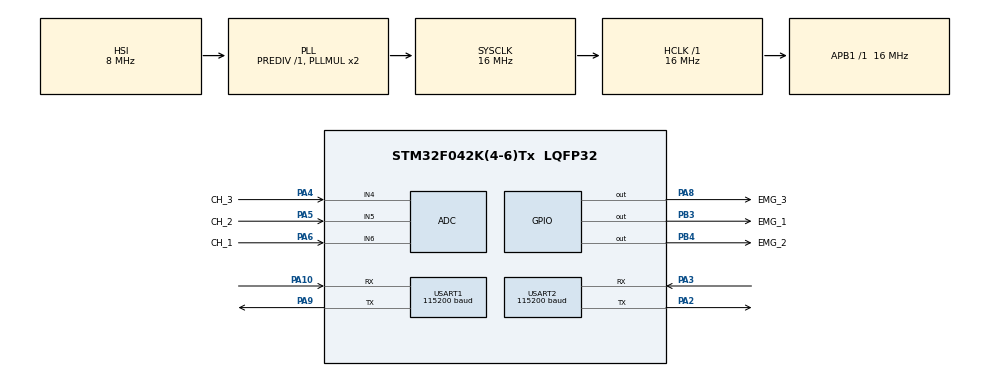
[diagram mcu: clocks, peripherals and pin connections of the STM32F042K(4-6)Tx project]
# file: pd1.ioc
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ADC.ContinuousConvMode=ENABLE
ADC.DMAContinuousRequests=DISABLE
ADC.EOCSelection=ADC_EOC_SINGLE_CONV
ADC.SamplingTime=ADC_SAMPLETIME_1CYCLE_5
Dma.ADC.0.Direction=DMA_PERIPH_TO_MEMORY
Dma.ADC.0.Instance=DMA1_Channel1
Dma.ADC.0.MemDataAlignment=DMA_MDATAALIGN_HALFWORD
Dma.ADC.0.MemInc=DMA_MINC_ENABLE
Dma.ADC.0.Mode=DMA_CIRCULAR
Dma.ADC.0.PeriphDataAlignment=DMA_PDATAALIGN_HALFWORD
Dma.ADC.0.PeriphInc=DMA_PINC_DISABLE
Dma.ADC.0.Priority=DMA_PRIORITY_LOW
Dma.Request0=ADC
Dma.Request1=USART1_TX
Dma.USART1_TX.1.Direction=DMA_MEMORY_TO_PERIPH
Dma.USART1_TX.1.Instance=DMA1_Channel2
Dma.USART1_TX.1.MemDataAlignment=DMA_MDATAALIGN_BYTE
Dma.USART1_TX.1.MemInc=DMA_MINC_ENABLE
Dma.USART1_TX.1.Mode=DMA_CIRCULAR
Dma.USART1_TX.1.PeriphDataAlignment=DMA_PDATAALIGN_BYTE
Dma.USART1_TX.1.PeriphInc=DMA_PINC_DISABLE
Dma.USART1_TX.1.Priority=DMA_PRIORITY_LOW
Mcu.Family=STM32F0
Mcu.Name=STM32F042K(4-6)Tx
Mcu.Package=LQFP32
NVIC.ADC1_IRQn=true\:0\:0\:false\:false\:true\:true\:true\:true
NVIC.DMA1_Channel1_IRQn=true\:0\:0\:false\:false\:true\:false\:true\:true
NVIC.DMA1_Channel2_3_IRQn=true\:0\:0\:false\:false\:true\:false\:true\:true
NVIC.TIM1_BRK_UP_TRG_COM_IRQn=true\:0\:0\:false\:false\:true\:true\:true\:true
NVIC.USART1_IRQn=true\:0\:0\:false\:false\:true\:true\:true\:true
PA10.Mode=Asynchronous
PA10.Signal=USART1_RX
PA2.Mode=Asynchronous
PA2.Signal=USART2_TX
PA3.Mode=Asynchronous
PA3.Signal=USART2_RX
PA4.GPIO_Label=CH_3
PA4.Mode=IN4
PA4.Signal=ADC_IN4
PA5.GPIO_Label=CH_2
PA5.Mode=IN5
PA5.Signal=ADC_IN5
PA6.GPIO_Label=CH_1
PA6.Mode=IN6
PA6.Signal=ADC_IN6
PA8.GPIO_Label=EMG_3
PA8.Signal=GPIO_Output
PA9.Mode=Asynchronous
PA9.Signal=USART1_TX
PB3.GPIO_Label=EMG_1
PB3.Signal=GPIO_Output
PB4.GPIO_Label=EMG_2
PB4.Signal=GPIO_Output
ProjectManager.HeapSize=0x200
ProjectManager.StackSize=0x400
ProjectManager.TargetToolchain=STM32CubeIDE
RCC.AHBFreq_Value=16000000
RCC.APB1Freq_Value=16000000
RCC.APB1TimFreq_Value=16000000
RCC.HCLKFreq_Value=16000000
RCC.SYSCLKFreq_VALUE=16000000
RCC.SYSCLKSource=RCC_SYSCLKSOURCE_PLLCLK
TIM1.Period=16000-1
TIM1.Prescaler=199
USART1.BaudRate=115200
USART1.VirtualMode-Asynchronous=VM_ASYNC
USART2.BaudRate=115200
USART2.VirtualMode-Asynchronous=VM_ASYNC
VP_TIM1_VS_ClockSourceINT.Mode=Internal
board=custom

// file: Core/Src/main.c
/* USER CODE BEGIN Header */
/**
  ******************************************************************************
  * @file           : main.c
  * @brief          : Main program body
  ******************************************************************************
  * @attention
  *
  * Copyright (c) 2022 STMicroelectronics.
  * All rights reserved.
  *
  * This software is licensed under terms that can be found in the LICENSE file
  * in the root directory of this software component.
  * If no LICENSE file comes with this software, it is provided AS-IS.
  *
  ******************************************************************************
  */
/* USER CODE END Header */
#include "main.h"

/* USER CODE BEGIN Includes */
#include <stdio.h>
#include <string.h>
/* USER CODE END Includes */

ADC_HandleTypeDef hadc;
DMA_HandleTypeDef hdma_adc;

TIM_HandleTypeDef htim1;

UART_HandleTypeDef huart1;
UART_HandleTypeDef huart2;
DMA_HandleTypeDef hdma_usart1_tx;

/* USER CODE BEGIN PV */
uint16_t raw[3];
uint16_t emg[3];
uint8_t rxEN;
uint16_t txData[3];
uint8_t txDataToSend[6];
char napis[10] = {0, 0, 0, 0, 0, 0, 0, 0, 0, 0};
char znaki_konca[3] = {13, 10, 0};
/* USER CODE END PV */

void SystemClock_Config(void);
static void MX_GPIO_Init(void);
static void MX_DMA_Init(void);
static void MX_ADC_Init(void);
static void MX_TIM1_Init(void);
static void MX_USART2_UART_Init(void);
static void MX_USART1_UART_Init(void);
/* USER CODE BEGIN PFP */
#ifdef __GNUC__
#define PUTCHAR_PROTOTYPE int __io_putchar(int ch)
#else
#define PUTCHAR_PROTOTYPE int fputc(int ch, FILE *f)
#endif

PUTCHAR_PROTOTYPE
{
  HAL_UART_Transmit(&huart2, (uint8_t *)&ch, 1, HAL_MAX_DELAY);
  return ch;
}
/* USER CODE END PFP */

int main(void)
{

  /* MCU Configuration--------------------------------------------------------*/

  /* Reset of all peripherals, Initializes the Flash interface and the Systick. */
  HAL_Init();

  /* Configure the system clock */
  SystemClock_Config();

  /* Initialize all configured peripherals */
  MX_GPIO_Init();
  MX_DMA_Init();
  MX_ADC_Init();
  MX_TIM1_Init();
  MX_USART2_UART_Init();
  MX_USART1_UART_Init();
  /* USER CODE BEGIN 2 */
  const int interval = 10;
  HAL_TIM_Base_Start_IT(&htim1);
  HAL_UART_Receive_IT(&huart1,&rxEN,1);
  /* USER CODE END 2 */

  /* Infinite loop */
  while (1)
  {

    /* USER CODE BEGIN 3 */
	  //-------------------------------------------------------------------
	  //fast debugging serialport - uart2 (porty A2 RX i A7 TX)
	  //fast debugging bluetooth - uart1 (porty podpisane jako RX i TX)
	  //-------------------------------------------------------------------
//		  itoa(raw[0],napis,10);
//		  HAL_UART_Transmit(&huart2,napis,strlen(napis),100);
//		  HAL_Delay(8);
//		  HAL_UART_Transmit(&huart2,znaki_konca,strlen(znaki_konca),100);
//		  HAL_Delay(4);
//	  continue;
	  //-------------------------------------------------------------------
	  //surowe dane z przetwornika - pokazuje tylko to co pobiera się co interval
	  //-------------------------------------------------------------------
	  //dane EMG podane w mV
	  //-------------------------------------------------------------------
	  emg[0]=raw[0]*3300/4095; //16bit
	  emg[1]=raw[1]*3300/4095;
	  emg[2]=raw[2]*3300/4095;
	  for(int i=0; i<6; i++)
	  {
		  if(i%2==0)
		  {
			  txDataToSend[i]=(emg[i] & 0xff00) >> 8;
			  itoa(txDataToSend[i],napis,10);
			  HAL_UART_Transmit(&huart2,napis,strlen(napis),100);
		  }
		  else
		  {
			  txDataToSend[i]=(emg[i] & 0xff);
			  itoa(txDataToSend[i],napis,10);
			  HAL_UART_Transmit(&huart2,napis,strlen(napis),100);
		  }
	  }
	  continue;
	  // ------------------------------------------------------
//	  uint8_t emg_to_send[sizeof(emg) * sizeof(emg[0])];
//
//	  for (int i = 0; i < sizeof(emg); ++i) {
//		  uint8_t* x = (uint8_t*)(&emg[i]);
//		  emg_to_send[i*2] = *x;
//		  emg_to_send[i*2+1] = *(x+1);
//	  }
//
//	  for (int i = 0; i < sizeof(emg_to_send); ++i) {
//		  HAL_UART_Transmit(&huart2, &(emg_to_send[i]), 1, 100);
//	  }
//	  continue;
	  // ------------------------------------------------------

	  //wyswietlenie danych w mV
//	  printf("%d\r\n",emg[0]);
//	  HAL_Delay(interval);
//	  printf("%d\r\n",emg[1]);
//	  HAL_Delay(interval);
//	  printf("%d\r\n",emg[2]);
//	  HAL_Delay(interval);
	  //-------------------------------------------------------------------
	  //ZAKOMENTOWANE NA POTRZEBY TESTÓW APLIKACJI QT
	  //-------------------------------------------------------------------
	  //transmisja przez Bluetooth - sprawdzam czy działa zapalając diodę (DZIALA)
	  if(HAL_GPIO_ReadPin(GPIOB, EMG_1_Pin)==1) //jeśli mierzy kanał 1, czyli można przesłać dane
	  {
		  for(int i=0; i<3; i++)
		  {
			  txData[i]=emg[i];
		  }
		  HAL_UART_Transmit_IT(&huart1,&txData[0],2);
		  //printf("BT_TX EMG_1 mV: %d\r\n",txData[0]);
		  HAL_Delay(interval);
		  HAL_UART_Transmit_IT(&huart1,&txData[1],2);
		  //printf("BT_TX EMG_2 mV: %d\r\n",txData[1]);
		  HAL_Delay(interval);
		  HAL_UART_Transmit_IT(&huart1,&txData[2],2);
		  //printf("BT_TX EMG_3 mV: %d\r\n",txData[2]);
		  HAL_Delay(interval);
	  }
	  else
	  {
		  printf("NO BT TRANSMISSION\r\n");
	  }
	  //---------------------------------------------------------------------
  }
  /* USER CODE END 3 */
}

void SystemClock_Config(void)
{
  RCC_OscInitTypeDef RCC_OscInitStruct = {0};
  RCC_ClkInitTypeDef RCC_ClkInitStruct = {0};
  RCC_PeriphCLKInitTypeDef PeriphClkInit = {0};

  /** Initializes the RCC Oscillators according to the specified parameters
  * in the RCC_OscInitTypeDef structure.
  */
  RCC_OscInitStruct.OscillatorType = RCC_OSCILLATORTYPE_HSI|RCC_OSCILLATORTYPE_HSI14;
  RCC_OscInitStruct.HSIState = RCC_HSI_ON;
  RCC_OscInitStruct.HSI14State = RCC_HSI14_ON;
  RCC_OscInitStruct.HSICalibrationValue = RCC_HSICALIBRATION_DEFAULT;
  RCC_OscInitStruct.HSI14CalibrationValue = 16;
  RCC_OscInitStruct.PLL.PLLState = RCC_PLL_ON;
  RCC_OscInitStruct.PLL.PLLSource = RCC_PLLSOURCE_HSI;
  RCC_OscInitStruct.PLL.PLLMUL = RCC_PLL_MUL2;
  RCC_OscInitStruct.PLL.PREDIV = RCC_PREDIV_DIV1;
  if (HAL_RCC_OscConfig(&RCC_OscInitStruct) != HAL_OK)
  {
    Error_Handler();
  }

  /** Initializes the CPU, AHB and APB buses clocks
  */
  RCC_ClkInitStruct.ClockType = RCC_CLOCKTYPE_HCLK|RCC_CLOCKTYPE_SYSCLK
                              |RCC_CLOCKTYPE_PCLK1;
  RCC_ClkInitStruct.SYSCLKSource = RCC_SYSCLKSOURCE_PLLCLK;
  RCC_ClkInitStruct.AHBCLKDivider = RCC_SYSCLK_DIV1;
  RCC_ClkInitStruct.APB1CLKDivider = RCC_HCLK_DIV1;

  if (HAL_RCC_ClockConfig(&RCC_ClkInitStruct, FLASH_LATENCY_0) != HAL_OK)
  {
    Error_Handler();
  }
  PeriphClkInit.PeriphClockSelection = RCC_PERIPHCLK_USART1;
  PeriphClkInit.Usart1ClockSelection = RCC_USART1CLKSOURCE_PCLK1;
  if (HAL_RCCEx_PeriphCLKConfig(&PeriphClkInit) != HAL_OK)
  {
    Error_Handler();
  }
}

static void MX_ADC_Init(void)
{

  ADC_ChannelConfTypeDef sConfig = {0};

  /** Configure the global features of the ADC (Clock, Resolution, Data Alignment and number of conversion)
  */
  hadc.Instance = ADC1;
  hadc.Init.ClockPrescaler = ADC_CLOCK_ASYNC_DIV1;
  hadc.Init.Resolution = ADC_RESOLUTION_12B;
  hadc.Init.DataAlign = ADC_DATAALIGN_RIGHT;
  hadc.Init.ScanConvMode = ADC_SCAN_DIRECTION_FORWARD;
  hadc.Init.EOCSelection = ADC_EOC_SINGLE_CONV;
  hadc.Init.LowPowerAutoWait = DISABLE;
  hadc.Init.LowPowerAutoPowerOff = DISABLE;
  hadc.Init.ContinuousConvMode = ENABLE;
  hadc.Init.DiscontinuousConvMode = DISABLE;
  hadc.Init.ExternalTrigConv = ADC_SOFTWARE_START;
  hadc.Init.ExternalTrigConvEdge = ADC_EXTERNALTRIGCONVEDGE_NONE;
  hadc.Init.DMAContinuousRequests = DISABLE;
  hadc.Init.Overrun = ADC_OVR_DATA_PRESERVED;
  if (HAL_ADC_Init(&hadc) != HAL_OK)
  {
    Error_Handler();
  }

  /** Configure for the selected ADC regular channel to be converted.
  */
  sConfig.Channel = ADC_CHANNEL_4;
  sConfig.Rank = ADC_RANK_CHANNEL_NUMBER;
  sConfig.SamplingTime = ADC_SAMPLETIME_1CYCLE_5;
  if (HAL_ADC_ConfigChannel(&hadc, &sConfig) != HAL_OK)
  {
    Error_Handler();
  }

  /** Configure for the selected ADC regular channel to be converted.
  */
  sConfig.Channel = ADC_CHANNEL_5;
  if (HAL_ADC_ConfigChannel(&hadc, &sConfig) != HAL_OK)
  {
    Error_Handler();
  }

  /** Configure for the selected ADC regular channel to be converted.
  */
  sConfig.Channel = ADC_CHANNEL_6;
  if (HAL_ADC_ConfigChannel(&hadc, &sConfig) != HAL_OK)
  {
    Error_Handler();
  }

}

static void MX_TIM1_Init(void)
{

  TIM_ClockConfigTypeDef sClockSourceConfig = {0};
  TIM_MasterConfigTypeDef sMasterConfig = {0};

  htim1.Instance = TIM1;
  htim1.Init.Prescaler = 199;
  htim1.Init.CounterMode = TIM_COUNTERMODE_UP;
  htim1.Init.Period = 16000-1;
  htim1.Init.ClockDivision = TIM_CLOCKDIVISION_DIV1;
  htim1.Init.RepetitionCounter = 0;
  htim1.Init.AutoReloadPreload = TIM_AUTORELOAD_PRELOAD_DISABLE;
  if (HAL_TIM_Base_Init(&htim1) != HAL_OK)
  {
    Error_Handler();
  }
  sClockSourceConfig.ClockSource = TIM_CLOCKSOURCE_INTERNAL;
  if (HAL_TIM_ConfigClockSource(&htim1, &sClockSourceConfig) != HAL_OK)
  {
    Error_Handler();
  }
  sMasterConfig.MasterOutputTrigger = TIM_TRGO_RESET;
  sMasterConfig.MasterSlaveMode = TIM_MASTERSLAVEMODE_DISABLE;
  if (HAL_TIMEx_MasterConfigSynchronization(&htim1, &sMasterConfig) != HAL_OK)
  {
    Error_Handler();
  }

}

static void MX_USART1_UART_Init(void)
{

  huart1.Instance = USART1;
  huart1.Init.BaudRate = 115200;
  huart1.Init.WordLength = UART_WORDLENGTH_8B;
  huart1.Init.StopBits = UART_STOPBITS_1;
  huart1.Init.Parity = UART_PARITY_NONE;
  huart1.Init.Mode = UART_MODE_TX_RX;
  huart1.Init.HwFlowCtl = UART_HWCONTROL_NONE;
  huart1.Init.OverSampling = UART_OVERSAMPLING_16;
  huart1.Init.OneBitSampling = UART_ONE_BIT_SAMPLE_DISABLE;
  huart1.AdvancedInit.AdvFeatureInit = UART_ADVFEATURE_NO_INIT;
  if (HAL_UART_Init(&huart1) != HAL_OK)
  {
    Error_Handler();
  }

}

static void MX_USART2_UART_Init(void)
{

  huart2.Instance = USART2;
  huart2.Init.BaudRate = 115200;
  huart2.Init.WordLength = UART_WORDLENGTH_8B;
  huart2.Init.StopBits = UART_STOPBITS_1;
  huart2.Init.Parity = UART_PARITY_NONE;
  huart2.Init.Mode = UART_MODE_TX_RX;
  huart2.Init.HwFlowCtl = UART_HWCONTROL_NONE;
  huart2.Init.OverSampling = UART_OVERSAMPLING_16;
  huart2.Init.OneBitSampling = UART_ONE_BIT_SAMPLE_DISABLE;
  huart2.AdvancedInit.AdvFeatureInit = UART_ADVFEATURE_NO_INIT;
  if (HAL_UART_Init(&huart2) != HAL_OK)
  {
    Error_Handler();
  }

}

static void MX_DMA_Init(void)
{

  /* DMA controller clock enable */
  __HAL_RCC_DMA1_CLK_ENABLE();

  /* DMA interrupt init */
  /* DMA1_Channel1_IRQn interrupt configuration */
  HAL_NVIC_SetPriority(DMA1_Channel1_IRQn, 0, 0);
  HAL_NVIC_EnableIRQ(DMA1_Channel1_IRQn);
  /* DMA1_Channel2_3_IRQn interrupt configuration */
  HAL_NVIC_SetPriority(DMA1_Channel2_3_IRQn, 0, 0);
  HAL_NVIC_EnableIRQ(DMA1_Channel2_3_IRQn);

}

static void MX_GPIO_Init(void)
{
  GPIO_InitTypeDef GPIO_InitStruct = {0};

  /* GPIO Ports Clock Enable */
  __HAL_RCC_GPIOA_CLK_ENABLE();
  __HAL_RCC_GPIOB_CLK_ENABLE();

  /*Configure GPIO pin Output Level */
  HAL_GPIO_WritePin(EMG_3_GPIO_Port, EMG_3_Pin, GPIO_PIN_RESET);

  /*Configure GPIO pin Output Level */
  HAL_GPIO_WritePin(GPIOB, EMG_1_Pin|EMG_2_Pin, GPIO_PIN_RESET);

  /*Configure GPIO pin : EMG_3_Pin */
  GPIO_InitStruct.Pin = EMG_3_Pin;
  GPIO_InitStruct.Mode = GPIO_MODE_OUTPUT_PP;
  GPIO_InitStruct.Pull = GPIO_NOPULL;
  GPIO_InitStruct.Speed = GPIO_SPEED_FREQ_LOW;
  HAL_GPIO_Init(EMG_3_GPIO_Port, &GPIO_InitStruct);

  /*Configure GPIO pins : EMG_1_Pin EMG_2_Pin */
  GPIO_InitStruct.Pin = EMG_1_Pin|EMG_2_Pin;
  GPIO_InitStruct.Mode = GPIO_MODE_OUTPUT_PP;
  GPIO_InitStruct.Pull = GPIO_NOPULL;
  GPIO_InitStruct.Speed = GPIO_SPEED_FREQ_LOW;
  HAL_GPIO_Init(GPIOB, &GPIO_InitStruct);

}

/* USER CODE BEGIN 4 */
//funkcje callback do obsługi ADC
void HAL_TIM_PeriodElapsedCallback(TIM_HandleTypeDef *htim1)
{
  HAL_ADC_Start_DMA(&hadc, (uint32_t*)raw, 3);
}

//funkcja callback RX do obsługi Bluetooth
void HAL_UART_RxCpltCallback(UART_HandleTypeDef *huart)
{
  if(huart->Instance==USART1)
  {
    if(rxEN==78) // Ascii value of 'N' is 78 (N for NO)
    {
    	HAL_GPIO_WritePin(GPIOB, EMG_1_Pin, 0);
    }
    else if (rxEN==89) // Ascii value of 'Y' is 89 (Y for YES)
    {
    	HAL_GPIO_WritePin(GPIOB, EMG_1_Pin, 1);
    }
    HAL_UART_Receive_IT(&huart1,&rxEN,1); // Enabling interrupt receive again
  }
}
/* USER CODE END 4 */

void Error_Handler(void)
{
  __disable_irq();
  while (1)
  {
  }
}
